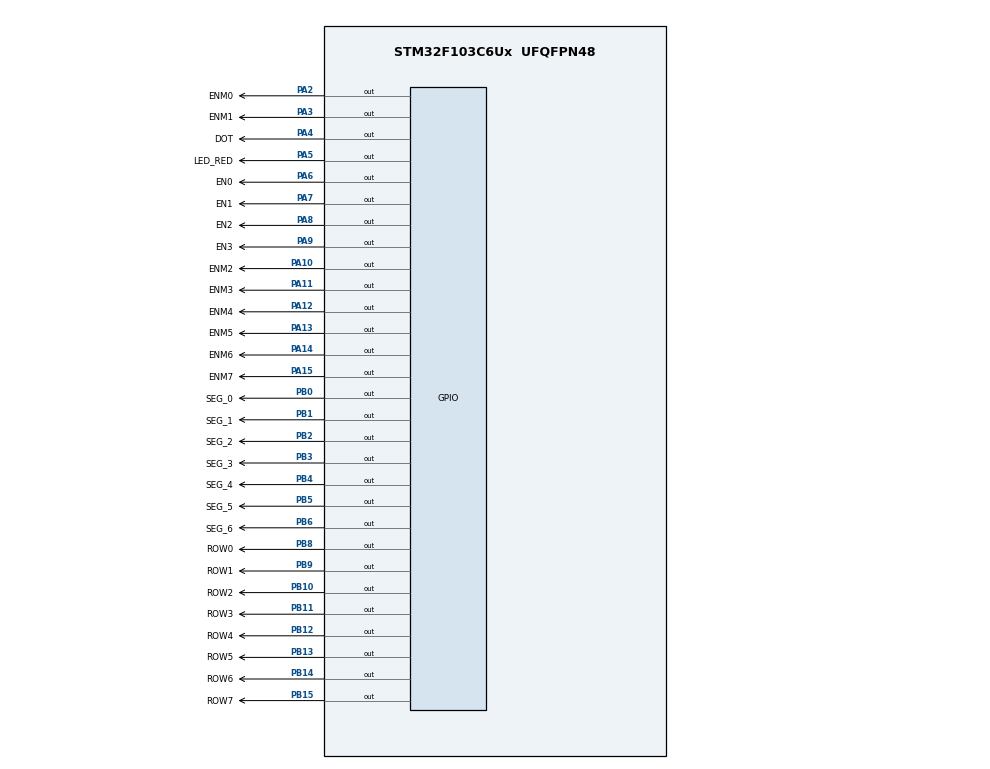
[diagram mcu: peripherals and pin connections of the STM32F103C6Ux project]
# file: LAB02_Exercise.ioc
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Mcu.Family=STM32F1
Mcu.Name=STM32F103C6Ux
Mcu.Package=UFQFPN48
NVIC.PriorityGroup=NVIC_PRIORITYGROUP_4
NVIC.TIM2_IRQn=true\:0\:0\:false\:false\:true\:true\:true
PA10.GPIO_Label=ENM2
PA10.Signal=GPIO_Output
PA11.GPIO_Label=ENM3
PA11.Signal=GPIO_Output
PA12.GPIO_Label=ENM4
PA12.Signal=GPIO_Output
PA13.GPIO_Label=ENM5
PA13.Signal=GPIO_Output
PA14.GPIO_Label=ENM6
PA14.Signal=GPIO_Output
PA15.GPIO_Label=ENM7
PA15.Signal=GPIO_Output
PA2.GPIO_Label=ENM0
PA2.Signal=GPIO_Output
PA3.GPIO_Label=ENM1
PA3.Signal=GPIO_Output
PA4.GPIO_Label=DOT
PA4.Signal=GPIO_Output
PA5.GPIO_Label=LED_RED
PA5.Signal=GPIO_Output
PA6.GPIO_Label=EN0
PA6.Signal=GPIO_Output
PA7.GPIO_Label=EN1
PA7.Signal=GPIO_Output
PA8.GPIO_Label=EN2
PA8.Signal=GPIO_Output
PA9.GPIO_Label=EN3
PA9.Signal=GPIO_Output
PB0.GPIO_Label=SEG_0
PB0.Signal=GPIO_Output
PB1.GPIO_Label=SEG_1
PB1.Signal=GPIO_Output
PB10.GPIO_Label=ROW2
PB10.Signal=GPIO_Output
PB11.GPIO_Label=ROW3
PB11.Signal=GPIO_Output
PB12.GPIO_Label=ROW4
PB12.Signal=GPIO_Output
PB13.GPIO_Label=ROW5
PB13.Signal=GPIO_Output
PB14.GPIO_Label=ROW6
PB14.Signal=GPIO_Output
PB15.GPIO_Label=ROW7
PB15.Signal=GPIO_Output
PB2.GPIO_Label=SEG_2
PB2.Signal=GPIO_Output
PB3.GPIO_Label=SEG_3
PB3.Signal=GPIO_Output
PB4.GPIO_Label=SEG_4
PB4.Signal=GPIO_Output
PB5.GPIO_Label=SEG_5
PB5.Signal=GPIO_Output
PB6.GPIO_Label=SEG_6
PB6.Signal=GPIO_Output
PB8.GPIO_Label=ROW0
PB8.Signal=GPIO_Output
PB9.GPIO_Label=ROW1
PB9.Signal=GPIO_Output
ProjectManager.HeapSize=0x200
ProjectManager.StackSize=0x400
ProjectManager.TargetToolchain=STM32CubeIDE
RCC.APB1Freq_Value=8000000
RCC.APB2Freq_Value=8000000
TIM2.Period=9
TIM2.Prescaler=7999
VP_SYS_VS_ND.Mode=No_Debug
VP_TIM2_VS_ClockSourceINT.Mode=Internal
board=custom

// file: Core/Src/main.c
/* USER CODE BEGIN Header */
/**
  ******************************************************************************
  * @file           : main.c
  * @brief          : Main program body
  ******************************************************************************
  * @attention
  *
  * <h2><center>&copy; Copyright (c) 2022 STMicroelectronics.
  * All rights reserved.</center></h2>
  *
  * This software component is licensed by ST under BSD 3-Clause license,
  * the "License"; You may not use this file except in compliance with the
  * License. You may obtain a copy of the License at:
  *                        opensource.org/licenses/BSD-3-Clause
  *
  ******************************************************************************
  */
/* USER CODE END Header */
#include "main.h"

/* USER CODE BEGIN Includes */
#include "software_timer.h"
#include "clock_buffer.h"
#include "matrix.h"
#include "led_7SEG.h"
/* USER CODE END Includes */

TIM_HandleTypeDef htim2;

void SystemClock_Config(void);
static void MX_GPIO_Init(void);
static void MX_TIM2_Init(void);

int main(void)
{

  /* MCU Configuration--------------------------------------------------------*/

  /* Reset of all peripherals, Initializes the Flash interface and the Systick. */
  HAL_Init();

  /* Configure the system clock */
  SystemClock_Config();

  /* Initialize all configured peripherals */
  MX_GPIO_Init();
  MX_TIM2_Init();
  /* USER CODE BEGIN 2 */

  HAL_TIM_Base_Start_IT(&htim2);

  /* USER CODE END 2 */

  /* Infinite loop */
  /* USER CODE BEGIN WHILE */
  setTimer1(1000);
  setTimer3(1000);
  setTimer2(250);
  setTimer4(1000);
  setTimer5(1000);

  hour = 13;
  minute = 59;
  second = 50;
  timer3_flag = 1;
  while (1)
  {
    /* USER CODE END WHILE */
    /* USER CODE BEGIN 3 */
	  if(timer1_flag == 1){
	  	setTimer1(1000);
	  	HAL_GPIO_TogglePin(LED_RED_GPIO_Port, LED_RED_Pin);
	  	HAL_GPIO_TogglePin(DOT_GPIO_Port,  DOT_Pin);
	  }

	  if(timer3_flag == 1){
	  	setTimer3(1000);
	  	display_clock();
	  	updateClockBuffer();
	  }

	  if(timer2_flag == 1){
	  	setTimer2(250);
	  	update7SEG(index_led ++);
	  	if(index_led >= MAX_LED) index_led = 0;
	  }

	  if(timer4_flag == 1){
		  setTimer4(1000);
		  updateLedMatrix(index_led_matrix ++);
		  if(index_led_matrix >= MAX_LED_MATRIX) index_led_matrix = 0;
	  }

	  if(timer5_flag == 1){
		  setTimer5(1000);
		  displayAnimation();
	  }

  }
  /* USER CODE END 3 */
}

void SystemClock_Config(void)
{
  RCC_OscInitTypeDef RCC_OscInitStruct = {0};
  RCC_ClkInitTypeDef RCC_ClkInitStruct = {0};

  /** Initializes the RCC Oscillators according to the specified parameters
  * in the RCC_OscInitTypeDef structure.
  */
  RCC_OscInitStruct.OscillatorType = RCC_OSCILLATORTYPE_HSI;
  RCC_OscInitStruct.HSIState = RCC_HSI_ON;
  RCC_OscInitStruct.HSICalibrationValue = RCC_HSICALIBRATION_DEFAULT;
  RCC_OscInitStruct.PLL.PLLState = RCC_PLL_NONE;
  if (HAL_RCC_OscConfig(&RCC_OscInitStruct) != HAL_OK)
  {
    Error_Handler();
  }
  /** Initializes the CPU, AHB and APB buses clocks
  */
  RCC_ClkInitStruct.ClockType = RCC_CLOCKTYPE_HCLK|RCC_CLOCKTYPE_SYSCLK
                              |RCC_CLOCKTYPE_PCLK1|RCC_CLOCKTYPE_PCLK2;
  RCC_ClkInitStruct.SYSCLKSource = RCC_SYSCLKSOURCE_HSI;
  RCC_ClkInitStruct.AHBCLKDivider = RCC_SYSCLK_DIV1;
  RCC_ClkInitStruct.APB1CLKDivider = RCC_HCLK_DIV1;
  RCC_ClkInitStruct.APB2CLKDivider = RCC_HCLK_DIV1;

  if (HAL_RCC_ClockConfig(&RCC_ClkInitStruct, FLASH_LATENCY_0) != HAL_OK)
  {
    Error_Handler();
  }
}

static void MX_TIM2_Init(void)
{

  TIM_ClockConfigTypeDef sClockSourceConfig = {0};
  TIM_MasterConfigTypeDef sMasterConfig = {0};

  htim2.Instance = TIM2;
  htim2.Init.Prescaler = 7999;
  htim2.Init.CounterMode = TIM_COUNTERMODE_UP;
  htim2.Init.Period = 9;
  htim2.Init.ClockDivision = TIM_CLOCKDIVISION_DIV1;
  htim2.Init.AutoReloadPreload = TIM_AUTORELOAD_PRELOAD_DISABLE;
  if (HAL_TIM_Base_Init(&htim2) != HAL_OK)
  {
    Error_Handler();
  }
  sClockSourceConfig.ClockSource = TIM_CLOCKSOURCE_INTERNAL;
  if (HAL_TIM_ConfigClockSource(&htim2, &sClockSourceConfig) != HAL_OK)
  {
    Error_Handler();
  }
  sMasterConfig.MasterOutputTrigger = TIM_TRGO_RESET;
  sMasterConfig.MasterSlaveMode = TIM_MASTERSLAVEMODE_DISABLE;
  if (HAL_TIMEx_MasterConfigSynchronization(&htim2, &sMasterConfig) != HAL_OK)
  {
    Error_Handler();
  }

}

static void MX_GPIO_Init(void)
{
  GPIO_InitTypeDef GPIO_InitStruct = {0};

  /* GPIO Ports Clock Enable */
  __HAL_RCC_GPIOA_CLK_ENABLE();
  __HAL_RCC_GPIOB_CLK_ENABLE();

  /*Configure GPIO pin Output Level */
  HAL_GPIO_WritePin(GPIOA, ENM0_Pin|ENM1_Pin|DOT_Pin|LED_RED_Pin
                          |EN0_Pin|EN1_Pin|EN2_Pin|EN3_Pin
                          |ENM2_Pin|ENM3_Pin|ENM4_Pin|ENM5_Pin
                          |ENM6_Pin|ENM7_Pin, GPIO_PIN_RESET);

  /*Configure GPIO pin Output Level */
  HAL_GPIO_WritePin(GPIOB, SEG_0_Pin|SEG_1_Pin|SEG_2_Pin|ROW2_Pin
                          |ROW3_Pin|ROW4_Pin|ROW5_Pin|ROW6_Pin
                          |ROW7_Pin|SEG_3_Pin|SEG_4_Pin|SEG_5_Pin
                          |SEG_6_Pin|ROW0_Pin|ROW1_Pin, GPIO_PIN_RESET);

  /*Configure GPIO pins : ENM0_Pin ENM1_Pin DOT_Pin LED_RED_Pin
                           EN0_Pin EN1_Pin EN2_Pin EN3_Pin
                           ENM2_Pin ENM3_Pin ENM4_Pin ENM5_Pin
                           ENM6_Pin ENM7_Pin */
  GPIO_InitStruct.Pin = ENM0_Pin|ENM1_Pin|DOT_Pin|LED_RED_Pin
                          |EN0_Pin|EN1_Pin|EN2_Pin|EN3_Pin
                          |ENM2_Pin|ENM3_Pin|ENM4_Pin|ENM5_Pin
                          |ENM6_Pin|ENM7_Pin;
  GPIO_InitStruct.Mode = GPIO_MODE_OUTPUT_PP;
  GPIO_InitStruct.Pull = GPIO_NOPULL;
  GPIO_InitStruct.Speed = GPIO_SPEED_FREQ_LOW;
  HAL_GPIO_Init(GPIOA, &GPIO_InitStruct);

  /*Configure GPIO pins : SEG0_Pin SEG1_Pin SEG2_Pin ROW2_Pin
                           ROW3_Pin ROW4_Pin ROW5_Pin ROW6_Pin
                           ROW7_Pin SEG3_Pin SEG4_Pin SEG5_Pin
                           SEG6_Pin ROW0_Pin ROW1_Pin */
  GPIO_InitStruct.Pin = SEG_0_Pin|SEG_1_Pin|SEG_2_Pin|ROW2_Pin
                          |ROW3_Pin|ROW4_Pin|ROW5_Pin|ROW6_Pin
                          |ROW7_Pin|SEG_3_Pin|SEG_4_Pin|SEG_5_Pin
                          |SEG_6_Pin|ROW0_Pin|ROW1_Pin;
  GPIO_InitStruct.Mode = GPIO_MODE_OUTPUT_PP;
  GPIO_InitStruct.Pull = GPIO_NOPULL;
  GPIO_InitStruct.Speed = GPIO_SPEED_FREQ_LOW;
  HAL_GPIO_Init(GPIOB, &GPIO_InitStruct);

}

/* USER CODE BEGIN 4 */
void HAL_TIM_PeriodElapsedCallback(TIM_HandleTypeDef *htim)
{
	timerRun();
}
/* USER CODE END 4 */

void Error_Handler(void)
{
  __disable_irq();
  while (1)
  {
  }
}

/************************ (C) COPYRIGHT STMicroelectronics *****END OF FILE****/
